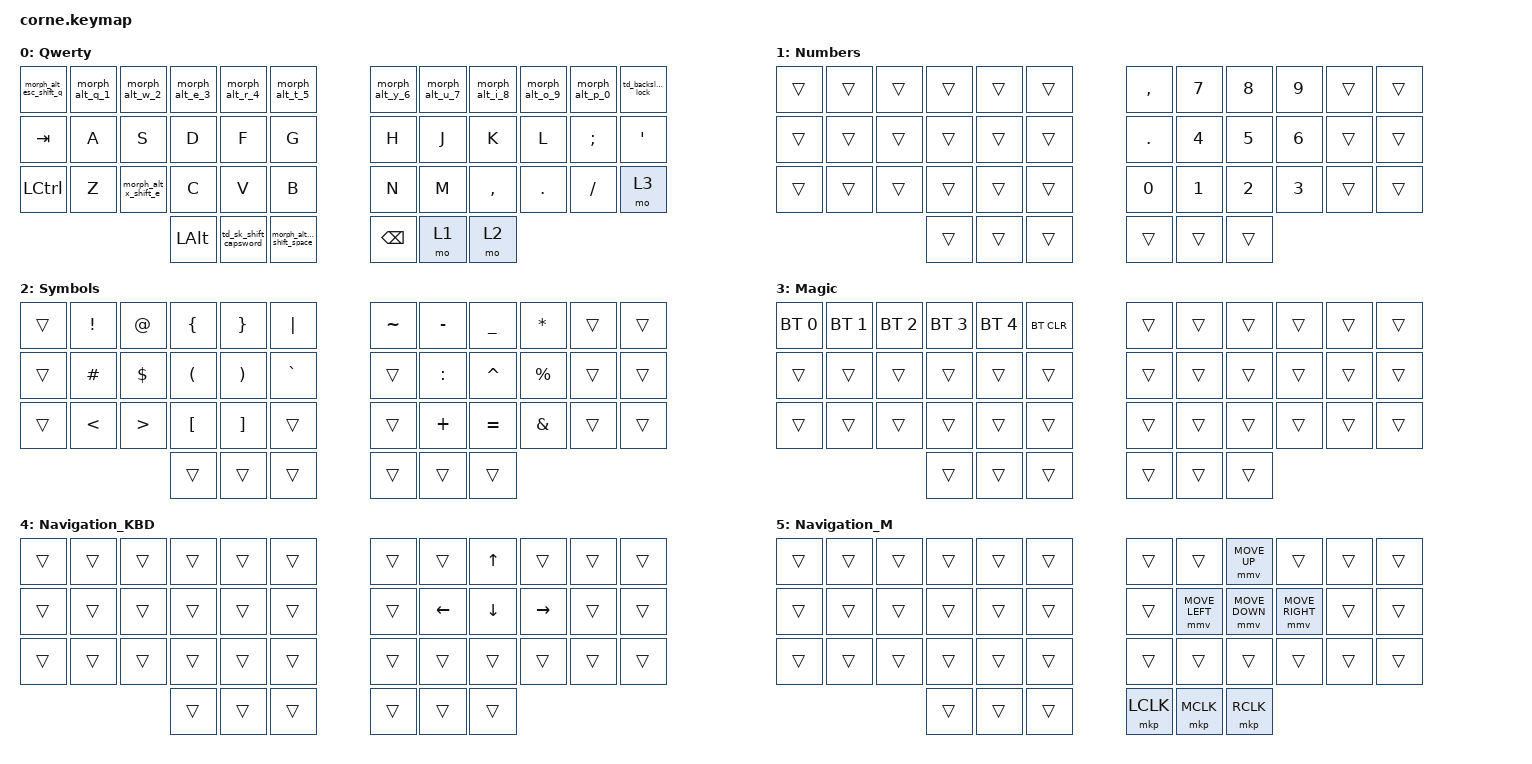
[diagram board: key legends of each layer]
/*
 * Copyright (c) 2020 The ZMK Contributors
 *
 * SPDX-License-Identifier: MIT
 */

#include <behaviors.dtsi>
#include <dt-bindings/zmk/bt.h>
#include <dt-bindings/zmk/keys.h>
#include <dt-bindings/zmk/pointing.h>

&sk { quick-release; };

/ {
    behaviors {
        td_sk_shift_capsword: td_sk_shift_capsword {
            compatible = "zmk,behavior-tap-dance";
            label = "TD_SK_SHIFT_CAPSWORD";
            #binding-cells = <0>;
            tapping-term-ms = <200>;
            bindings = <&sk LEFT_SHIFT>, <&caps_word>;
        };

        morph_alt_q_1: morph_alt_q_1 {
            compatible = "zmk,behavior-mod-morph";
            label = "morph_alt_q_1";
            bindings = <&kp Q>, <&kp NUMBER_1>;

            #binding-cells = <0>;
            mods = <(MOD_LALT)>;
            keep-mods = <(MOD_LALT)>;
        };

        morph_alt_w_2: morph_alt_w_2 {
            compatible = "zmk,behavior-mod-morph";
            label = "MORPH_ALT_W_2";
            bindings = <&kp W>, <&kp NUMBER_2>;

            #binding-cells = <0>;
            mods = <(MOD_LALT)>;
            keep-mods = <(MOD_LALT)>;
        };

        morph_alt_e_3: morph_alt_e_3 {
            compatible = "zmk,behavior-mod-morph";
            label = "MORPH_ALT_E_3";
            bindings = <&kp E>, <&kp NUMBER_3>;

            #binding-cells = <0>;
            mods = <(MOD_LALT)>;
            keep-mods = <(MOD_LALT)>;
        };

        morph_alt_r_4: morph_alt_r_4 {
            compatible = "zmk,behavior-mod-morph";
            label = "MORPH_ALT_R_4";
            bindings = <&kp R>, <&kp NUMBER_4>;

            #binding-cells = <0>;
            mods = <(MOD_LALT)>;
            keep-mods = <(MOD_LALT)>;
        };

        morph_alt_t_5: morph_alt_t_5 {
            compatible = "zmk,behavior-mod-morph";
            label = "MORPH_ALT_T_5";
            bindings = <&kp T>, <&kp NUMBER_5>;

            #binding-cells = <0>;
            mods = <(MOD_LALT)>;
            keep-mods = <(MOD_LALT)>;
        };

        morph_alt_y_6: morph_alt_y_6 {
            compatible = "zmk,behavior-mod-morph";
            label = "MORPH_ALT_Y_6";
            bindings = <&kp Y>, <&kp NUMBER_6>;

            #binding-cells = <0>;
            mods = <(MOD_LALT)>;
            keep-mods = <(MOD_LALT)>;
        };

        morph_alt_u_7: morph_alt_u_7 {
            compatible = "zmk,behavior-mod-morph";
            label = "MORPH_ALT_U_7";
            bindings = <&kp U>, <&kp NUMBER_7>;

            #binding-cells = <0>;
            mods = <(MOD_LALT)>;
            keep-mods = <(MOD_LALT)>;
        };

        morph_alt_i_8: morph_alt_i_8 {
            compatible = "zmk,behavior-mod-morph";
            label = "MORPH_ALT_I_8";
            bindings = <&kp I>, <&kp NUMBER_8>;

            #binding-cells = <0>;
            mods = <(MOD_LALT)>;
            keep-mods = <(MOD_LALT)>;
        };

        morph_alt_o_9: morph_alt_o_9 {
            compatible = "zmk,behavior-mod-morph";
            label = "MORPH_ALT_O_9";
            bindings = <&kp O>, <&kp NUMBER_9>;

            #binding-cells = <0>;
            mods = <(MOD_LALT)>;
            keep-mods = <(MOD_LALT)>;
        };

        morph_alt_p_0: morph_alt_p_0 {
            compatible = "zmk,behavior-mod-morph";
            label = "MORPH_ALT_P_0";
            bindings = <&kp P>, <&kp NUMBER_0>;

            #binding-cells = <0>;
            mods = <(MOD_LALT)>;
            keep-mods = <(MOD_LALT)>;
        };

        morph_alt_esc_shift_q: morph_alt_esc_shift_q {
            compatible = "zmk,behavior-mod-morph";
            label = "MORPH_ALT_ESC_SHIFT_Q";
            bindings = <&kp ESCAPE>, <&kp LS(Q)>;

            #binding-cells = <0>;
            mods = <(MOD_LALT)>;
            keep-mods = <(MOD_LALT)>;
        };

        morph_alt_space_shift_space: morph_alt_space_shift_space {
            compatible = "zmk,behavior-mod-morph";
            label = "MORPH_ALT_SPACE_SHIFT_SPACE";
            bindings = <&kp SPACE>, <&kp LS(SPACE)>;

            #binding-cells = <0>;
            mods = <(MOD_LALT)>;
            keep-mods = <(MOD_LALT)>;
        };

        morph_alt_x_shift_e: morph_alt_x_shift_e {
            compatible = "zmk,behavior-mod-morph";
            label = "MORPH_ALT_X_SHIFT_E";
            bindings = <&kp X>, <&kp LS(E)>;

            #binding-cells = <0>;
            mods = <(MOD_LALT)>;
            keep-mods = <(MOD_LALT)>;
        };

        td_backslash_lock: td_backslash_lock {
            compatible = "zmk,behavior-tap-dance";
            label = "TD_BACKSLASH_LOCK";
            #binding-cells = <0>;
            bindings = <&kp BACKSLASH>, <&kp LA(L)>;

            tapping-term-ms = <150>;
        };
    };

    combos {
        compatible = "zmk,combos";

        combo_enter {
            bindings = <&kp RETURN>;
            key-positions = <19 20>;
        };

        combo_nav_kbd {
            bindings = <&mo 4>;
            key-positions = <16 15>;
        };

        combo_nav_m {
            bindings = <&mo 5>;
            key-positions = <16 15 14>;
        };
    };

    keymap {
        compatible = "zmk,keymap";

        Qwerty {
            // -----------------------------------------------------------------------------------------
            // |  TAB |  Q  |  W  |  E  |  R  |  T  |   |  Y  |  U   |  I  |  O  |  P  | BKSP |
            // | CTRL |  A  |  S  |  D  |  F  |  G  |   |  H  |  J   |  K  |  L  |  ;  |  '   |
            // | SHFT |  Z  |  X  |  C  |  V  |  B  |   |  N  |  M   |  ,  |  .  |  /  | ESC  |
            //                    | GUI | LWR | SPC |   | ENT | RSE  | ALT |

            display-name = "Qwerty";
            bindings = <
&morph_alt_esc_shift_q  &morph_alt_q_1  &morph_alt_w_2        &morph_alt_e_3  &morph_alt_r_4         &morph_alt_t_5                  &morph_alt_y_6  &morph_alt_u_7  &morph_alt_i_8  &morph_alt_o_9  &morph_alt_p_0  &td_backslash_lock
&kp TAB                 &kp A           &kp S                 &kp D           &kp F                  &kp G                           &kp H           &kp J           &kp K           &kp L           &kp SEMI        &kp SQT
&kp LEFT_CONTROL        &kp Z           &morph_alt_x_shift_e  &kp C           &kp V                  &kp B                           &kp N           &kp M           &kp COMMA       &kp DOT         &kp FSLH        &mo 3
                                                              &kp LEFT_ALT    &td_sk_shift_capsword  &morph_alt_space_shift_space    &kp BACKSPACE   &mo 1           &mo 2
            >;
        };

        Numbers {
            bindings = <
&trans  &trans  &trans  &trans  &trans  &trans    &kp COMMA     &kp NUMBER_7  &kp NUMBER_8  &kp NUMBER_9  &trans  &trans
&trans  &trans  &trans  &trans  &trans  &trans    &kp DOT       &kp NUMBER_4  &kp NUMBER_5  &kp NUMBER_6  &trans  &trans
&trans  &trans  &trans  &trans  &trans  &trans    &kp NUMBER_0  &kp NUMBER_1  &kp NUMBER_2  &kp NUMBER_3  &trans  &trans
                        &trans  &trans  &trans    &trans        &trans        &trans
            >;

            label = "Numbers";
        };

        Symbols {
            bindings = <
&trans  &kp EXCLAMATION  &kp AT_SIGN       &kp LEFT_BRACE        &kp RIGHT_BRACE        &kp PIPE     &kp TILDE  &kp MINUS  &kp UNDERSCORE  &kp ASTERISK   &trans  &trans
&trans  &kp HASH         &kp DOLLAR        &kp LEFT_PARENTHESIS  &kp RIGHT_PARENTHESIS  &kp GRAVE    &trans     &kp COLON  &kp CARET       &kp PERCENT    &trans  &trans
&trans  &kp LESS_THAN    &kp GREATER_THAN  &kp LEFT_BRACKET      &kp RIGHT_BRACKET      &trans       &trans     &kp PLUS   &kp EQUAL       &kp AMPERSAND  &trans  &trans
                                           &trans                &trans                 &trans       &trans     &trans     &trans
            >;

            label = "Symbols";
        };

        Magic {
            bindings = <
&bt BT_SEL 0  &bt BT_SEL 1  &bt BT_SEL 2  &bt BT_SEL 3  &bt BT_SEL 4  &bt BT_CLR    &trans  &trans  &trans  &trans  &trans  &trans
&trans        &trans        &trans        &trans        &trans        &trans        &trans  &trans  &trans  &trans  &trans  &trans
&trans        &trans        &trans        &trans        &trans        &trans        &trans  &trans  &trans  &trans  &trans  &trans
                                          &trans        &trans        &trans        &trans  &trans  &trans
            >;

            label = "Magic";
        };

        Navigation_KBD {
            bindings = <
&trans  &trans  &trans  &trans  &trans  &trans    &trans  &trans          &kp UP_ARROW    &trans           &trans  &trans
&trans  &trans  &trans  &trans  &trans  &trans    &trans  &kp LEFT_ARROW  &kp DOWN_ARROW  &kp RIGHT_ARROW  &trans  &trans
&trans  &trans  &trans  &trans  &trans  &trans    &trans  &trans          &trans          &trans           &trans  &trans
                        &trans  &trans  &trans    &trans  &trans          &trans
            >;

            label = "Navigation_KBD";
        };

        Navigation_M {
            label = "Navigation_M";
            bindings = <
&trans  &trans  &trans  &trans  &trans  &trans    &trans     &trans          &mmv MOVE_UP    &trans           &trans  &trans
&trans  &trans  &trans  &trans  &trans  &trans    &trans     &mmv MOVE_LEFT  &mmv MOVE_DOWN  &mmv MOVE_RIGHT  &trans  &trans
&trans  &trans  &trans  &trans  &trans  &trans    &trans     &trans          &trans          &trans           &trans  &trans
                        &trans  &trans  &trans    &mkp LCLK  &mkp MCLK       &mkp RCLK
            >;
        };
    };
};
